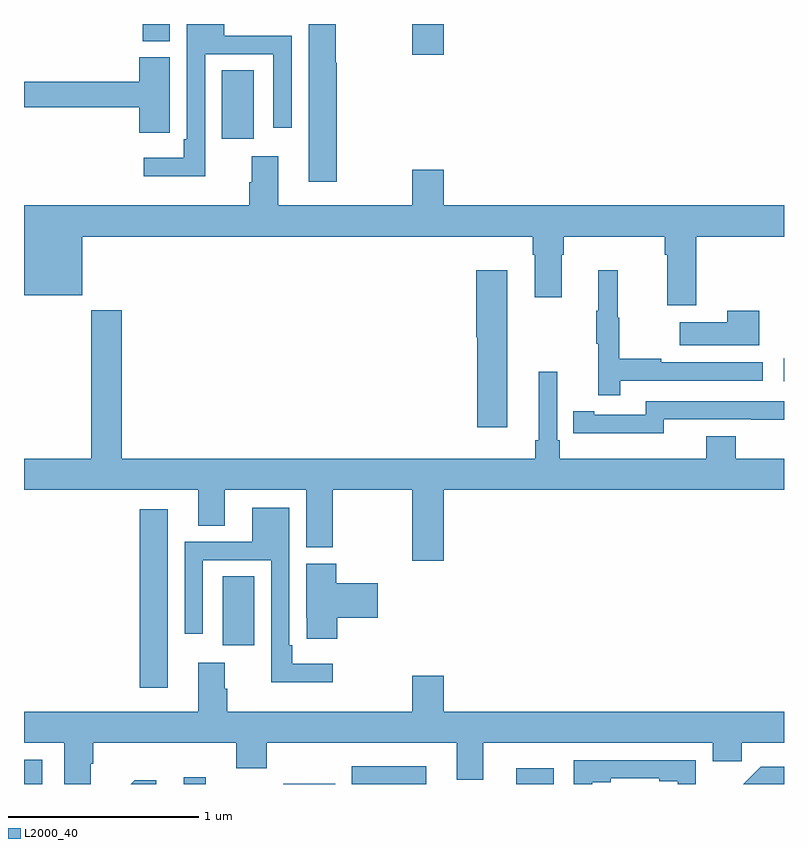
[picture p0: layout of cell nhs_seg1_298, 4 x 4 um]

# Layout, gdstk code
import gdstk
lib = gdstk.Library(unit=1e-6, precision=1e-09)
def R(c, l, rs):  # rectangles x0, y0, x1, y1
    for r in rs: c.add(gdstk.rectangle(r[:2], r[2:], *l))
def P(c, l, *ps):  # polygons
    for p in ps: c.add(gdstk.Polygon(p, *l))
L2000_40 = (2000, 40)

nhs_seg1_298 = lib.new_cell('nhs_seg1_298')
R(nhs_seg1_298, L2000_40, [(127,534.199,127.095,534.327), (127.841,534.199,127.956,534.235), (128.365,534.199,128.637,534.2), (128.724,534.199,129.118,534.292), (129.591,534.199,129.787,534.283), (127.61,534.705,127.756,535.645), (128.045,534.93,128.212,535.292), (130.998,536.319,131,536.439), (128.042,537.594,128.209,537.956), (129.044,538.038,129.208,538.199), (127.625,538.108,127.768,538.199)])
P(nhs_seg1_298, L2000_40, [(127.953,538.041),(128.313,538.041),(128.313,537.654),(128.409,537.654),(128.409,538.137),(128.053,538.137),(128.053,538.199),(127.857,538.199),(127.857,537.592),(127.841,537.592),(127.841,537.496),(127.629,537.496),(127.629,537.398),(127.953,537.398)],
  [(128.645,537.996),(128.64,537.996),(128.64,538.199),(128.498,538.199),(128.498,537.369),(128.645,537.369)],
  [(127.767,537.739),(127.768,537.739),(127.768,538.023),(127.607,538.023),(127.607,537.896),(127,537.896),(127,537.76),(127.607,537.76),(127.607,537.627),(127.767,537.627)],
  [(130.538,537.08),(131,537.08),(131,537.244),(129.208,537.244),(129.208,537.433),(129.044,537.433),(129.044,537.244),(128.338,537.244),(128.338,537.502),(128.198,537.502),(128.198,537.365),(128.186,537.365),(128.186,537.244),(127,537.244),(127,536.771),(127.306,536.771),(127.306,537.08),(129.677,537.08),(129.677,536.984),(129.689,536.984),(129.689,536.76),(129.829,536.76),(129.829,536.984),(129.842,536.984),(129.842,537.08),(130.373,537.08),(130.373,536.984),(130.385,536.984),(130.385,536.718),(130.538,536.718)],
  [(129.544,536.902),(129.38,536.902),(129.38,536.55),(129.386,536.55),(129.386,536.076),(129.544,536.076)],
  [(130.139,536.322),(130.888,536.322),(130.888,536.418),(130.355,536.418),(130.355,536.438),(130.132,536.438),(130.132,536.652),(130.124,536.652),(130.124,536.902),(130.022,536.902),(130.022,536.689),(130.011,536.689),(130.011,536.515),(130.022,536.515),(130.022,536.244),(130.139,536.244)],
  [(129.208,535.748),(131,535.748),(131,535.912),(130.745,535.912),(130.745,536.029),(130.592,536.029),(130.592,535.912),(129.821,535.912),(129.821,536.008),(129.807,536.008),(129.807,536.368),(129.71,536.368),(129.71,536.008),(129.691,536.008),(129.691,535.912),(127.514,535.912),(127.514,536.692),(127.354,536.692),(127.354,535.912),(127,535.912),(127,535.748),(127.916,535.748),(127.916,535.558),(128.056,535.558),(128.056,535.748),(128.486,535.748),(128.486,535.444),(128.625,535.444),(128.625,535.748),(129.044,535.748),(129.044,535.374),(129.208,535.374)],
  [(130.87,536.689),(130.7,536.689),(130.7,536.629),(130.451,536.629),(130.451,536.507),(130.87,536.507)],
  [(130.368,536.118),(130.828,536.118),(130.828,536.117),(131,536.117),(131,536.214),(130.272,536.214),(130.272,536.142),(130,536.142),(130,536.162),(129.892,536.162),(129.892,536.046),(130,536.046),(130,536.045),(130.368,536.045)],
  [(128.626,534.832),(128.413,534.832),(128.413,534.928),(128.397,534.928),(128.397,535.654),(128.201,535.654),(128.201,535.473),(127.845,535.473),(127.845,534.99),(127.941,534.99),(127.941,535.377),(128.301,535.377),(128.301,534.734),(128.626,534.734)],
  [(128.648,535.073),(128.863,535.073),(128.863,535.256),(128.643,535.256),(128.643,535.359),(128.486,535.359),(128.486,535.075),(128.487,535.075),(128.487,534.963),(128.648,534.963)],
  [(127.351,534.306),(127.364,534.306),(127.364,534.416),(128.117,534.416),(128.117,534.283),(128.277,534.283),(128.277,534.416),(129.278,534.416),(129.278,534.222),(129.418,534.222),(129.418,534.416),(130.625,534.416),(130.625,534.318),(130.777,534.318),(130.777,534.416),(131,534.416),(131,534.58),(129.208,534.58),(129.208,534.769),(129.044,534.769),(129.044,534.58),(128.069,534.58),(128.069,534.701),(128.056,534.701),(128.056,534.838),(127.916,534.838),(127.916,534.58),(127,534.58),(127,534.416),(127.211,534.416),(127.211,534.199),(127.351,534.199)],
  [(129.991,534.208),(130.087,534.208),(130.087,534.228),(130.343,534.228),(130.343,534.214),(130.44,534.214),(130.44,534.199),(130.536,534.199),(130.536,534.324),(129.894,534.324),(129.894,534.199),(129.991,534.199)],
  [(131,534.291),(130.878,534.291),(130.786,534.199),(131,534.199)],
  [(127.696,534.22),(127.583,534.22),(127.562,534.199),(127.696,534.199)])

lib.write_gds('nhs_seg1_298.gds')
